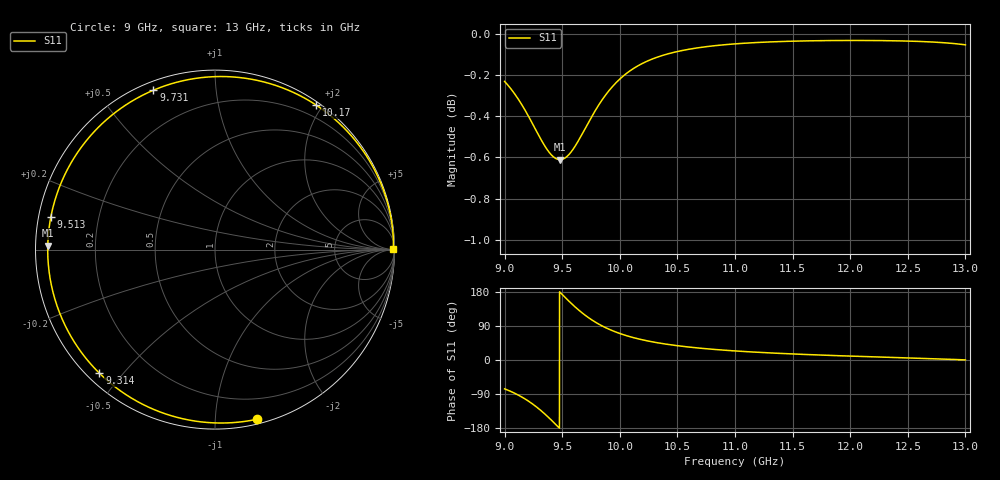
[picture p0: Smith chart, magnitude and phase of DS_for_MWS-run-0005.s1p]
! TOUCHSTONE file generated by CST DESIGN STUDIO
! Date and time: Tue Feb  4 13:27:54 2025
! Project name: C:\Work\MatlabApps\UnitCellOptimizationMatlab\CST\unitcell.cst
! Tree item: Tasks\Sweep1\SPara1\S-Parameters
! Header version: 2024
! Port assignment regex: !\s*Touchstone port\s*([0-9]+)\s*=\s*(CST MWS port|CST DES external port|CST DES block port)\s*(.+)\s* \(\"(.*)\"\)(\s*mode\s*([0-9]+))?.*
! Touchstone port assignment:
! Touchstone port 1 = CST DES external port 1 ("")
# GHz S MA R 50
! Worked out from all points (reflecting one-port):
!   4001 points, 9 GHz to 13 GHz, reference 50 ohm
!   lowest |S11| = -0.6 dB at 9.481 GHz (marker M1), VSWR 28.45, Z = 1.76 + j0.608 ohm
!   phase of S11 starts at -76 deg and turns -284 deg over the sweep
!   S11 on the Smith chart (normalised r, x): 9 GHz: 0.03, -1.28; 9.314 GHz: 0.03, -0.43; 9.513 GHz: 0.04, +0.10; 9.731 GHz: 0.04, +0.68; 10.17 GHz: 0.04, +1.92; 13 GHz: open
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9  0.9738 -76.1
9.081  0.9676 -86.8
9.18  0.958 -103.2
9.249  0.9502 -117.5
9.314  0.9428 -133.1
9.358  0.9384 -144.9
9.405  0.9346 -158.4
9.444  0.9327 -170.1
9.481  0.9321 178.6
9.5  0.9323 172.8
9.513  0.9326 168.8
9.565  0.9352 153.3
9.625  0.9404 136.5
9.677  0.946 123.4
9.731  0.952 111.1
9.784  0.9577 100.6
9.844  0.9636 90.3
9.92  0.9698 79.4
10  0.9751 70.0
10.171  0.9828 55.0
10.321  0.987 45.8
10.5  0.9902 37.7
10.722  0.9927 30.5
11  0.9945 23.9
11.5  0.996 15.9
12  0.9964 10.3
12.5  0.996 5.5
13  0.9939 0.3
